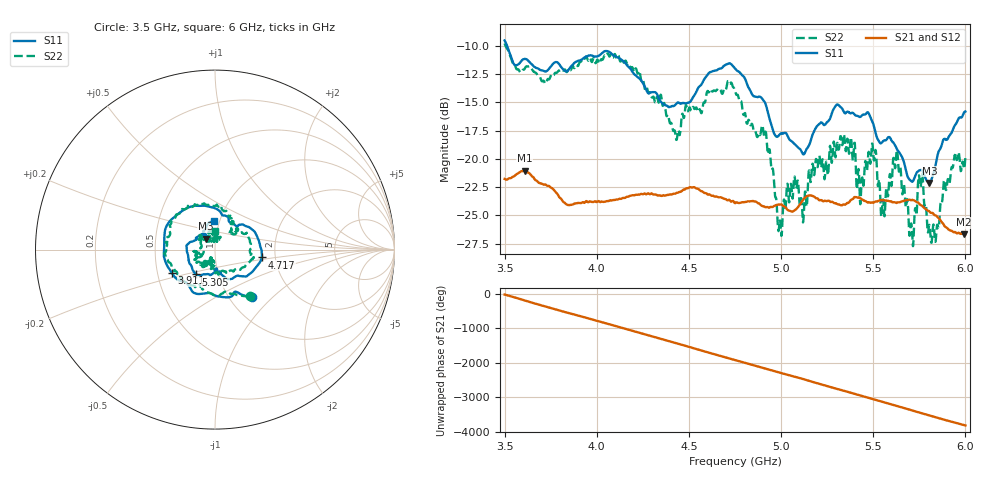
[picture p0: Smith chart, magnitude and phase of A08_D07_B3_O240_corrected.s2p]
! Created with skrf 1.9.0 (http://scikit-rf.org).
# Hz S RI R 50.0
!freq ReS11 ImS11 ReS21 ImS21 ReS12 ImS12 ReS22 ImS22
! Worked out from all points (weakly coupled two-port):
!   1601 points, 3.5 GHz to 6 GHz, reference 50 ohm
!   highest |S21| = -21.04 dB at 3.609 GHz (marker M1); lowest = -26.7 dB at 5.994 GHz (marker M2)
!   lowest |S11| = -22.1 dB at 5.805 GHz (marker M3), VSWR 1.17, Z = 44.9 + j5.46 ohm
!   |S11| at or under -10 dB: 3.513 GHz to end of sweep
!   |S22| runs from -27.7 to -9.8 dB; largest |S21 - S12| = 0.0011
!   S11 on the Smith chart (normalised r, x): 3.5 GHz: 1.26, -0.75; 3.911 GHz: 0.60, -0.17; 4.717 GHz: 1.70, -0.16; 5.305 GHz: 0.78, -0.22; 6 GHz: 0.93, +0.31
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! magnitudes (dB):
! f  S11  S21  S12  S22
! 3.5 GHz  -9.5  -21.8  -21.8  -9.8
! 3.609 GHz  -11.1  -21.0  -21.1  -12.0
! 3.911 GHz  -11.3  -23.9  -23.9  -11.4
! 3.917 GHz  -11.2  -23.9  -23.9  -11.3
! 4.334 GHz  -14.5  -23.2  -23.2  -15.0
! 4.439 GHz  -15.0  -23.0  -23.0  -17.7
! 4.717 GHz  -11.5  -23.6  -23.7  -13.2
! 4.75 GHz  -12.0  -23.9  -23.8  -14.0
! 4.909 GHz  -14.9  -24.2  -24.2  -18.0
! 4.994 GHz  -17.8  -24.0  -24.0  -25.4
! 5.167 GHz  -18.0  -23.3  -23.2  -20.8
! 5.305 GHz  -15.2  -24.0  -24.0  -18.6
! 5.438 GHz  -16.2  -23.6  -23.6  -21.8
! 5.503 GHz  -17.1  -23.9  -23.8  -20.1
! 5.552 GHz  -18.5  -23.7  -23.6  -23.7
! 5.584 GHz  -18.1  -23.7  -23.7  -22.5
! 5.636 GHz  -19.3  -23.8  -23.8  -20.5
! 5.708 GHz  -22.0  -23.6  -23.6  -25.9
! 5.758 GHz  -21.0  -24.1  -24.0  -22.4
! 5.805 GHz  -22.1  -24.6  -24.6  -25.8
! 5.994 GHz  -15.9  -26.7  -26.6  -20.9
! 6 GHz  -15.8  -26.7  -26.6  -19.8
